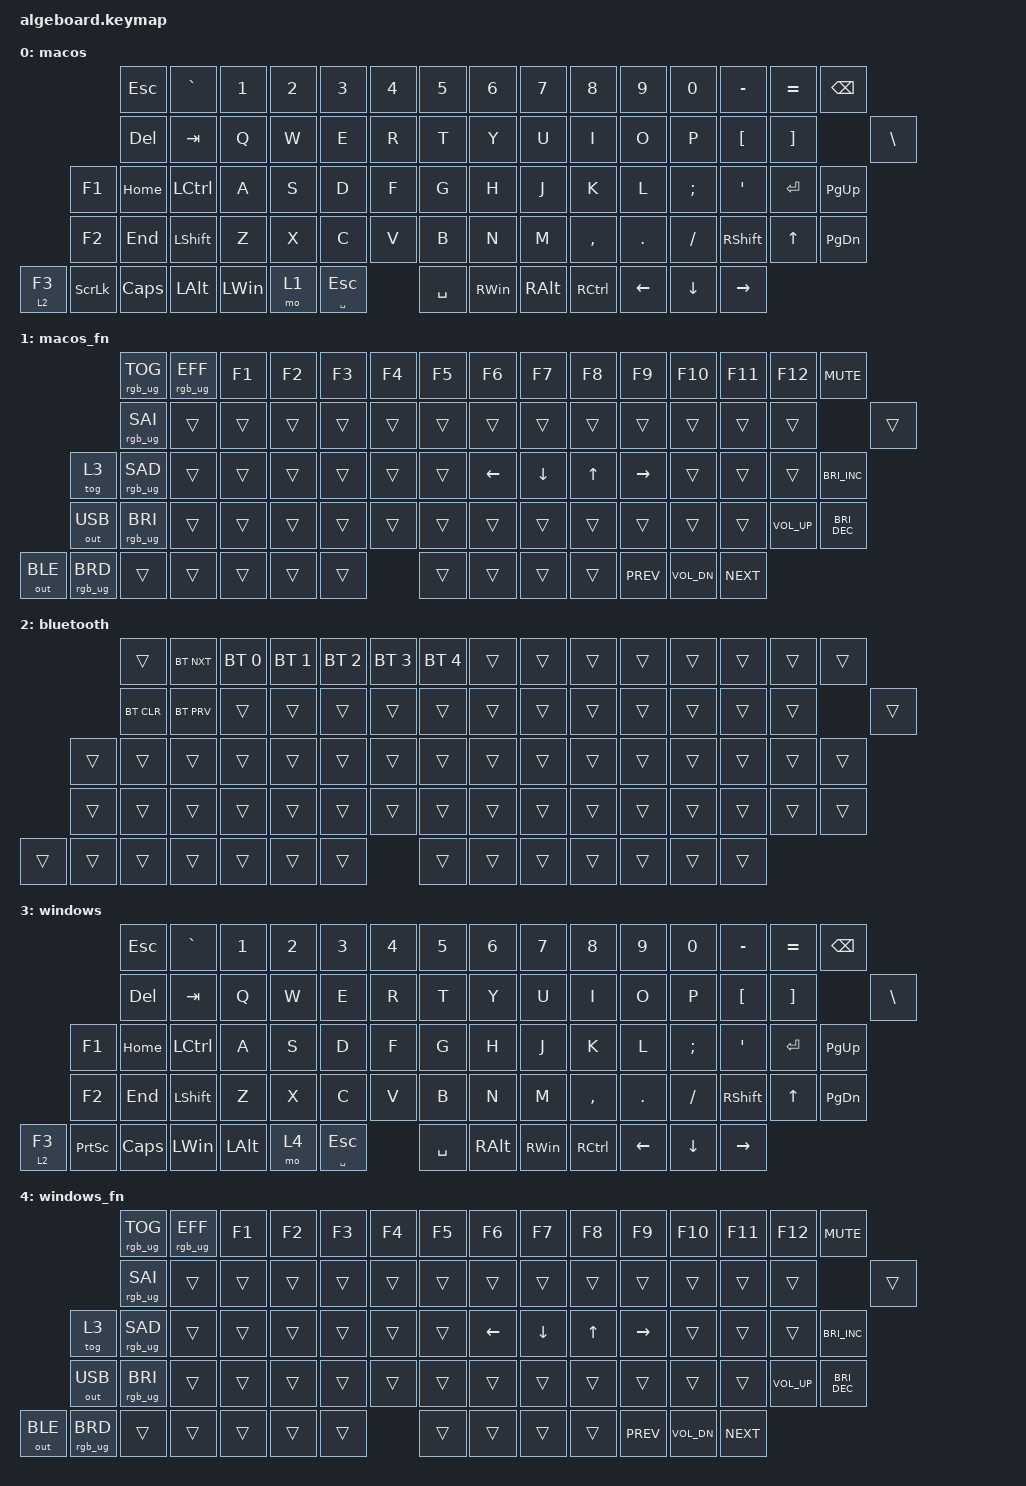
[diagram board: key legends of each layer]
/*
 * Copyright (c) 2020 The ZMK Contributors
 *
 * SPDX-License-Identifier: MIT
 */

#include <behaviors.dtsi>
#include <dt-bindings/zmk/keys.h>
#include <dt-bindings/zmk/rgb.h>
#include <dt-bindings/zmk/outputs.h>
#include <dt-bindings/zmk/bt.h>
#include <dt-bindings/zmk/ext_power.h>

/ {
    keymap {
        compatible = "zmk,keymap";
        macos {
            bindings = <
                  &kp ESC     &kp GRAVE    &kp N1    &kp N2  &kp N3     &kp N4     &kp N5    &kp N6    &kp N7     &kp N8    &kp N9     &kp N0   &kp MINUS  &kp EQUAL  &kp BACKSPACE
                  &kp DEL       &kp TAB     &kp Q     &kp W   &kp E      &kp R      &kp T     &kp Y     &kp U      &kp I     &kp O      &kp P    &kp LBKT   &kp RBKT  &kp BACKSLASH
   &kp F1        &kp HOME  &kp LCTRL     &kp A     &kp S   &kp D      &kp F      &kp G     &kp H     &kp J      &kp K     &kp L   &kp SEMI     &kp SQT  &kp ENTER      &kp PG_UP
   &kp F2         &kp END    &kp LSHIFT     &kp Z     &kp X   &kp C      &kp V      &kp B     &kp N     &kp M  &kp COMMA   &kp DOT  &kp SLASH  &kp RSHIFT     &kp UP      &kp PG_DN
   &lt 2 F3  &kp SCROLLLOCK     &kp CAPSLOCK  &kp LALT  &kp LWIN   &mo 1  &mt SPACE ESC  &kp SPACE  &kp RWIN  &kp RALT  &kp RCTRL  &kp LEFT   &kp DOWN   &kp RIGHT
            >;
        };

        macos_fn {
            bindings = <
               &rgb_ug RGB_TOG  &rgb_ug RGB_EFF  &kp F1  &kp F2  &kp F3  &kp F4  &kp F5    &kp F6    &kp F7  &kp F8      &kp F9       &kp F10     &kp F11       &kp F12     &kp C_MUTE
               &rgb_ug RGB_SAI           &trans  &trans  &trans  &trans  &trans  &trans    &trans    &trans  &trans      &trans        &trans      &trans        &trans         &trans
       &tog 3  &rgb_ug RGB_SAD           &trans  &trans  &trans  &trans  &trans  &trans  &kp LEFT  &kp DOWN  &kp UP   &kp RIGHT        &trans      &trans        &trans  &kp C_BRI_INC
 &out OUT_USB  &rgb_ug RGB_BRI           &trans  &trans  &trans  &trans  &trans  &trans    &trans    &trans  &trans      &trans        &trans      &trans  &kp C_VOL_UP  &kp C_BRI_DEC
 &out OUT_BLE  &rgb_ug RGB_BRD           &trans  &trans  &trans  &trans  &trans  &trans    &trans    &trans  &trans  &kp C_PREV  &kp C_VOL_DN  &kp C_NEXT
            >;

        };

        bluetooth {
            bindings = <
             &trans  &bt BT_NXT  &bt BT_SEL 0  &bt BT_SEL 1  &bt BT_SEL 2  &bt BT_SEL 3  &bt BT_SEL 4  &trans  &trans  &trans  &trans  &trans  &trans  &trans  &trans
         &bt BT_CLR  &bt BT_PRV        &trans        &trans        &trans        &trans        &trans  &trans  &trans  &trans  &trans  &trans  &trans  &trans  &trans
 &trans      &trans      &trans        &trans        &trans        &trans        &trans        &trans  &trans  &trans  &trans  &trans  &trans  &trans  &trans  &trans
 &trans      &trans      &trans        &trans        &trans        &trans        &trans        &trans  &trans  &trans  &trans  &trans  &trans  &trans  &trans  &trans
 &trans      &trans      &trans        &trans        &trans        &trans        &trans        &trans  &trans  &trans  &trans  &trans  &trans  &trans
            >;
        };

             
        windows {
            bindings = <
                   &kp ESC     &kp GRAVE    &kp N1    &kp N2  &kp N3     &kp N4     &kp N5    &kp N6    &kp N7     &kp N8    &kp N9     &kp N0   &kp MINUS  &kp EQUAL  &kp BACKSPACE
                   &kp DEL       &kp TAB     &kp Q     &kp W   &kp E      &kp R      &kp T     &kp Y     &kp U      &kp I     &kp O      &kp P    &kp LBKT   &kp RBKT  &kp BACKSLASH
   &kp F1         &kp HOME  &kp LCTRL     &kp A     &kp S   &kp D      &kp F      &kp G     &kp H     &kp J      &kp K     &kp L   &kp SEMI     &kp SQT  &kp ENTER      &kp PG_UP
   &kp F2          &kp END    &kp LSHIFT     &kp Z     &kp X   &kp C      &kp V      &kp B     &kp N     &kp M  &kp COMMA   &kp DOT  &kp SLASH  &kp RSHIFT     &kp UP      &kp PG_DN
 &lt 2 F3  &kp PRINTSCREEN     &kp CAPSLOCK  &kp LWIN  &kp LALT   &mo 4  &mt SPACE ESC  &kp SPACE  &kp RALT  &kp RWIN  &kp RCTRL  &kp LEFT   &kp DOWN   &kp RIGHT
            >;
        };

        windows_fn {
            bindings = <
               &rgb_ug RGB_TOG  &rgb_ug RGB_EFF  &kp F1  &kp F2  &kp F3  &kp F4  &kp F5    &kp F6    &kp F7  &kp F8      &kp F9       &kp F10     &kp F11       &kp F12     &kp C_MUTE
               &rgb_ug RGB_SAI           &trans  &trans  &trans  &trans  &trans  &trans    &trans    &trans  &trans      &trans        &trans      &trans        &trans         &trans
       &tog 3  &rgb_ug RGB_SAD           &trans  &trans  &trans  &trans  &trans  &trans  &kp LEFT  &kp DOWN  &kp UP   &kp RIGHT        &trans      &trans        &trans  &kp C_BRI_INC
 &out OUT_USB  &rgb_ug RGB_BRI           &trans  &trans  &trans  &trans  &trans  &trans    &trans    &trans  &trans      &trans        &trans      &trans  &kp C_VOL_UP  &kp C_BRI_DEC
 &out OUT_BLE  &rgb_ug RGB_BRD           &trans  &trans  &trans  &trans  &trans  &trans    &trans    &trans  &trans  &kp C_PREV  &kp C_VOL_DN  &kp C_NEXT
            >;
        };
    };
};
